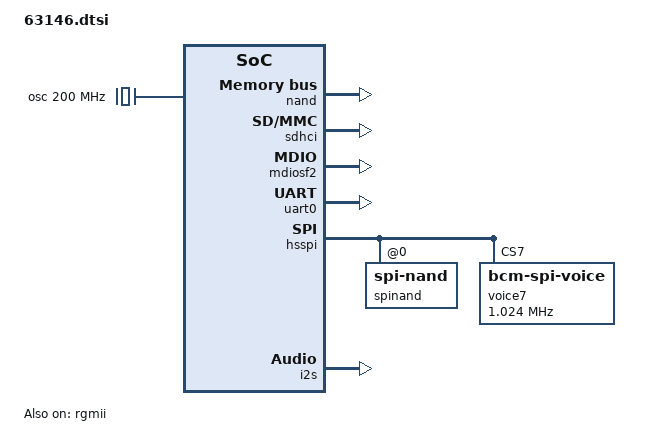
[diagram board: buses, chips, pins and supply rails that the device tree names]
/dts-v1/;

#include "linux_autoconf.h"

/* bootstrap reserved memory */
#include "../boot_rsvdmem.dtsi"

/ {
	/* arch */
	#define PERIPH_CLK			200000000
	#define PMU_CORE0_SPI	7
	#define PMU_CORE1_SPI	8
	#define HS_SPI_PLL_CLK			200000000	
	#include "../ip/bcm_b53_dual.dtsi"
	/* broadcom memory reservations */
	#include "../bcm_rsvdmem.dtsi"

	/* memc */
	#define BP_DDR_63146_DEFAULT           BP_DDR_CONFIG_DEBUG|BP_DDR_SSC_CONFIG_1
	#include "../ip/memc.dtsi"

	aliases {
		serial0 = &uart0;
		serial1 = &uart1;
		spi1 = &hsspi; /* 0 = legacy, 1 = high speed */
		spinand0 = &spinand;
		nand0 = &nand;
		hs_serial0 = &hs_uart0;
	};

	chosen {
		stdout-path = "serial0:115200n8";
		/* increase coherent_pool size */
		bootargs = "coherent_pool=4M cpuidle_sysfs_switch pci=pcie_bus_safe console=ttyAMA0,115200 earlycon rootwait";
	};

	/* boot state */
	boot_state: boot_state {
		#define RESET_REASON_OFFSET	0x0 0xff802628
		#define RESET_REASON_SIZE	0x0 0x4
		#define RESET_STATUS_OFFSET	0x0 0xff85a01c
		#define RESET_STATUS_SIZE	0x0 0x4
		#include "../ip/bcm_boot_state_v2.dtsi"
	};
	nand: nand {
		#define NAND_CTRL_OFFSET		0x0 0xff801800
		#define NAND_CTRL_SIZE			0x0 0x400
		#define NAND_INTR_OFFSET		0x0 0xff802000
		#define NAND_INTR_SIZE			0x0 0x10
		#define NAND_CACHE_OFFSET		0x0 0xff801C00
		#define NAND_CACHE_SIZE			0x0 0x200
		#include "../ip/bcm_nand7_1.dtsi"
	};
	/* EMMC */
	sdhci: sdhci {
		#define SDHCI_OFFSET			0x00000000 0xff810000
		#define SDHCI_SIZE			0x00000000 0x100
		#define SDHCI_TOPCFG_OFFSET		0x00000000 0xff810100
		#define SDHCI_TOPCFG_SIZE		0x00000000 0x100
		#define SDHCI_BOOT_OFFSET		0x00000000 0xff810200
		#define SDHCI_BOOT_SIZE			0x00000000 0x40
		#define SDHCI_AHBSS_CTRL_OFFSET		0x00000000 0xff810300
		#define SDHCI_AHBSS_CTRL_SIZE		0x00000000 0x100
		#define SDHCI_HS200_BASE_CLOCK_FREQ	180000000
		#define SDIO_EMMC_SPI			38
		#include "../ip/bcm_sdhci.dtsi"
		mmc-ddr-3_3v;
	};
	rng: rng {
		#define RNG200_OFFSET                   0x00000000 0xff800b80
		#define RNG200_SIZE                     0x00000000 0x30
		#include "../ip/bcm_rng200.dtsi"
	};

	/* PMC */
	pmc: pmc {
		#define PMC_REG_OFFSET              0x0 0xffb01018 
		#define PMC_REG_SIZE                0x0 0x5080
		#define PROCMON_REG_OFFSET          0x0 0xffb20000
		#define PROCMON_REG_SIZE            0x0 0x240
		#define MAESTRO_REG_OFFSET          0x0 0xffb00400
		#define MAESTRO_REG_SIZE            0x0 0x5d0
		#define MAESTRO_DTCM_REG_OFFSET     0x0 0xffb80000
		#define MAESTRO_DTCM_REG_SIZE       0x0 0x1000
		#include "../ip/bcm_pmc_3_2.dtsi"
	};

#if defined(CONFIG_BCM_PCIE_HCD) || defined(CONFIG_BCM_PCIE_HCD_MODULE)
	/* pcie common */
	pcie: pcie {
		compatible = "brcm,bcm-pcie";
		device_type = "cpci";
		brcm,pllclkid = <0x210>;
	};

	/* pcie core 0 */
	pcie0: pcie0 {
		#define PCIE_ID				0
		#define PCIE_SPI			69
		#define PCIE_ADDR			0 0x80110000
		#define PCIE_SIZE			0 0x0000A000
		/*	flags	pci_addr	 cpu_addr size */
		#define PCIE_RANGE			0x02000000 0 0xC0000000 0 0xC0000000 0 0x10000000
		#include "../ip/bcm_pcie_core.dtsi"
	};
	/* pcie core 1 */
	pcie1: pcie1 {
		#define PCIE_ID			 1
		#define PCIE_SPI			70
		#define PCIE_ADDR			0 0x80120000
		#define PCIE_SIZE			0 0x0000A000
		/*	flags	pci_addr	 cpu_addr size */
		#define PCIE_RANGE			0x02000000 0 0xD0000000 0 0xD0000000 0 0x10000000
		#include "../ip/bcm_pcie_core.dtsi"
	};
	/* pcie core 2 */
	pcie2: pcie2 {
		#define PCIE_ID			 2
		#define PCIE_SPI			71
		#define PCIE_ADDR			0 0x80130000
		#define PCIE_SIZE			0 0x0000A000
		/*	flags	pci_addr cpu_addr size */
		#define PCIE_RANGE			0x02000000 0 0xE0000000 0 0xE0000000 0 0x10000000
		#include "../ip/bcm_pcie_core.dtsi"
	};
#endif /* defined(CONFIG_BCM_PCIE_HCD) || defined(CONFIG_BCM_PCIE_HCD_MODULE) */

	/* usb */
	usb_ctrl: usb_ctrl {
		#define USB_CTRL_ADDR       0x0 0x8010f200
		#define USB_CTRL_SIZE       0x0 0x128
		#include "../ip/bcm_usb_ctrl.dtsi"
	};

	usb0_xhci: usb0_xhci {
		#define USB_ADDR            0x0 0x80100000
		#define USB_SIZE            0x0 0x484
		#define GBL_ADDR            0x0 0x8010C100
		#define GBL_SIZE            0x0 0x544
		#define USB_IRQ             73
		#include "../ip/bcm_usb_xhci.dtsi"
		xhci-no-companion;
	};

	unimac {
		compatible = "brcm,unimac3";
		reg = <0x0 0x828a8000 0x0 0x8000>,
		      <0x0 0x828b0000 0x0 0x2000>;
		conf_offset = <0x1000>;
		mib_offset = <0x400>;
		top_offset = <0x400>;
		mib_step = <0x2>;
	};

	egphy {
		compatible = "brcm,egphy";
		reg = <0x0 0x837FF00C 0x0 0x20>;
	};

	mdiosf2 {
		compatible = "brcm,mdio-sf2";
		reg = <0x0 0x837FFD00 0x0 0x10>,
		      <0x0 0xff85a024 0x0 0x4>;
	};

	rgmii: rgmii {
		compatible = "brcm,rgmii2";
		reg = <0x0 0x837ff184 0x0 0x44>,
		      <0x0 0xff800500 0x0 0x78>;
	};

	xrdp {
		compatible = "simple-bus";
		#address-cells = <2>;
		#size-cells = <2>;
		ranges = <0x0 0x0 0x0 0x82000000 0x0 0xcd0000
			  0x1 0x0 0x0 0xff800000 0x0 0x62000>;

		mdio: mdio {
			compatible = "simple-bus";
			bus-type = "DSL_ETHSW";

			#address-cells = <1>;
			#size-cells = <0>;

			phy1:1 {
				compatible = "brcm,bcaphy";
				phy-type = "EGPHY";
				reg = <1>;
				status = "disabled";
			};

			phy2:2 {
				compatible = "brcm,bcaphy";
				phy-type = "EGPHY";
				reg = <2>;
				status = "disabled";
			};

			phy3:3 {
				compatible = "brcm,bcaphy";
				phy-type = "EGPHY";
				reg = <3>;
				status = "disabled";
			};

			phy4:4 {
				compatible = "brcm,bcaphy";
				phy-type = "EGPHY";
				reg = <4>;
				status = "disabled";
			};

			phy5:5 {
				compatible = "brcm,bcaphy";
				phy-type = "EGPHY";
				reg = <5>;
				status = "disabled";
			};

			phy_rgmii:rgmii {
				compatible = "brcm,bcaphy";
				phy-type = "EGPHY";
				reg = <25>;
				status = "disabled";
				phy-external;
			};

			phy_serdes0:7 {
				compatible = "brcm,bcaphy";
				phy-type = "2.5GAE";
				reg = <6>;
				serdes-core = <0>;
				serdes-lane = <0>;
				status = "disabled";
			};

			phy_serdes1:8 {
				compatible = "brcm,bcaphy";
				phy-type = "2.5GAE";
				reg = <7>;
				serdes-core = <1>;
				serdes-lane = <0>;
				status = "disabled";
			};
		};

		switch0: switch0 {
		};
	};


	/* Legacy UBUS base */
	ubus@ff800000 {
		compatible = "simple-bus";
		#address-cells = <2>;
		#size-cells = <2>;
		ranges = <0x0 0x0 0x0 0xff800000 0x0 0x62000>;

		/* pinctrl */
		pincontroller: pinctrl {
			#define PINCTRL_OFFSET       0x0 0x554
			#define PINCTRL_SIZE         0x0 0xc
			#define PINCTRL_NUM_PINS     126
			#define PINCTRL_NUM_FUNC     8
			#define PINCTRL_GPIO_FUNC    4
			#include "../ip/bcm_bca_pinctrl.dtsi"
			#include "63146_pinctrl.dtsi"
		};

		/* gpio */
		gpioc: gpioc {
			#define GPIO_DIR_OFFSET      0x0 0x500
			#define GPIO_DIR_SIZE        0x0 0x20
			#define GPIO_DATA_OFFSET     0x0 0x520
			#define GPIO_DATA_SIZE       0x0 0x20
			#define NUM_OF_GPIOS         88 
			#include "../ip/bcm_bca_gpio.dtsi"
		};

		/* external interrups */
		bca_extintr: bca_extintr0 {
			#define EXTINTR_OFFSET       0x0 0x4
			#define EXTINTR_SIZE         0x0 0x48
			#define MAX_EXT_INTR         8
			#include "../ip/bcm_bca_extintr.dtsi"
			external_interrupts = <47 48 49 50 51 52 53 54>;
		};

		/* UART 1*/
		uart0: serial0 {
			#define UART_OFFSET			0x0 0x12000
			#define UART_SIZE			0x0 0x1000
			#define UART_SPI			32
			#define UART_CLK_LABEL			refclk50mhz
			#define UART_CLK			50000000
			#include "../ip/bcm_arm_uart.dtsi"
		};

		uart1: serial1 {
			#define UART_OFFSET			0x0 0x13000
			#define UART_SIZE			0x0 0x1000
			#define UART_SPI			33
			#define UART_CLK_LABEL			refclk50mhz
			#define UART_CLK			50000000
			#include "../ip/bcm_arm_uart.dtsi"
		};


		hs_uart0: hs_serial0 {
			#define UART_OFFSET			0x0 0x10400
			#define UART_SIZE			0x0 0x1E0
			#define UART_SPI 			34
			#include "../ip/bcm_hs_uart.dtsi"
		};

		/* HS SPI */
		hsspi: spi {
			pinctrl-0 = <&spim_group_pins>;
			pinctrl-names = "default";
			#define HS_SPI_OFFSET			0x0 0x1000
			#define HS_SPI_SIZE			0x0 0x600
			#define HS_SPI_MAX_FREQ			100000000
			#define HS_SPIM_SPI			37
			#include "../ip/bcm_hsspi.dtsi"
			spinand: spi-nand@0 {
				#define SPINAND_MAX_FREQ	100000000
				#include "../ip/bcm_spinand.dtsi"
			};

			voice7 {
				pinctrl-0 = <&pcm_sdin_pin_80 &pcm_sdout_pin_81 &pcm_clk_pin_85 &pcm_fs_pin_82>;
				pinctrl-names = "default";
				compatible = "bcm-spi-voice";
				reg = <7>; /* chip select 7 */
				spi-index = <7>;/* ZSI/ISI header position index */
				spi-max-frequency = <1024000>;
			};
		};

		i2c0: i2c0 {
			#define I2C_OFFSET			0x0 0x2100
			#define I2C_SIZE			0x0 0x60
			#include "../ip/bcm_i2c_bus.dtsi"
		};

		i2c1: i2c1 {
			#define I2C_OFFSET			0x0 0x5a800
			#define I2C_SIZE			0x0 0x60
			#include "../ip/bcm_i2c_bus.dtsi"
		};

		i2s: bcm63xx-i2s {
			compatible = "brcm,bcm63xx-i2s";
			reg = <0x0 0x2080 0x0 0x7f>;
			interrupts = <GIC_SPI 44 IRQ_TYPE_LEVEL_HIGH>;
			clocks = <&i2stxclk>,<&i2srxclk>,<&osc>;
			clock-names = "i2stxclk","i2srxclk","i2sosc"; 
		};

		/* periph timers */
		timers: timers {
			#define TIMERS_OFFSET		0x0 0x400
			#define TIMERS__SIZE		0x0 0x48
			#define TIMER0_SPI			11
			#define TIMER1_SPI			12
			#define TIMER2_SPI			13
			#define TIMER3_SPI			14
			#include "../ip/bcm_timer.dtsi"
		};

		/* watchdog */
		wdt: watchdog {
			#define WATCHDOG_OFFSET			0x0 0x480
			#define WATCHDOG_SIZE			0x0 0x10
			#define WATCHDOG_TIMEOUT		80
			#include "../ip/bcm_wdt.dtsi"
		};

		/* watchdog reboot */
		wdt-reboot {
			compatible = "wdt-reboot";
			wdt = <&wdt>;
		};

		/* Led Controller */
		led_ctrl: led_ctrl {
			#define CLED_GLBL_CTRL_OFFSET           0x0 0x3000
			#define CLED_GLBL_CTRL_SIZE             0x0 0x4
			#define CLED_HW_EN_OFFSET               0x0 0x3004
			#define CLED_HW_EN_SIZE                 0x0 0x4
			#define CLED_SER_SHIFT_OFFSET           0x0 0x3008
			#define CLED_SER_SHIFT_SIZE             0x0 0x4
			#define CLED_HW_POLARITY_OFFSET         0x0 0x300c
			#define CLED_HW_POLARITY_SIZE           0x0 0x4
			#define CLED_SW_SET_OFFSET              0x0 0x3010
			#define CLED_SW_SET_SIZE                0x0 0x4
			#define CLED_SW_POLARITY_OFFSET         0x0 0x3014
			#define CLED_SW_POLARITY_SIZE           0x0 0x4
			#define CLED_CH_ACTIVATE_OFFSET         0x0 0x301c
			#define CLED_CH_ACTIVATE_SIZE           0x0 0x4
			#define CLED_XX_CONFIG_OFFSET           0x0 0x3020
			#define CLED_XX_CONFIG_SIZE             0x0 0x200
			#define CLED_SW_CLEAR_OFFSET            0x0 0x3444
			#define CLED_SW_CLEAR_SIZE              0x0 0x4
			#define CLED_SW_STATUS_OFFSET           0x0 0x3448
			#define CLED_SW_STATUS_SIZE             0x0 0x4
			#define CLED_OUT_MUX_OFFSET             0x0 0x3460
			#define CLED_OUT_MUX_SIZE               0x0 0x20
			#define CLED_SERIAL_POLARITY_OFFSET     0x0 0x3454
			#define CLED_SERIAL_POLARITY_SIZE       0x0 0x4
			#define CLED_PARALLEL_POLARITY_OFFSET   0x0 0x3018
			#define CLED_PARALLEL_POLARITY_SIZE     0x0 0x4
			#define MAX_SUPPORTED_LEDS              32

			status = "okay";
			#include "../ip/bcm_cled_ctrl.dtsi"
			#include "63146_leds.dtsi"
		};

		legacy_leds: legacy_leds {
			compatible = "brcm,legacy-led";
		};
		vreg_sync: vreg_sync {
			compatible = "brcm,vreg-sync";
		};

		therm0: brcm-therm {
			compatible = "brcm,therm";
			status = "okay";
		};

	};
	ephyled {
	    compatible = "brcm,ephy-led";
            led_reg_max = <0x8>;
            reg-names = "aggregate_ctrl", "led_reg_0", "led_reg_1", "led_reg_2", "led_reg_3", "led_reg_4", "led_reg_5", "led_reg_6", "led_reg_7";
            reg = <0 0x837FF17C  0 0x4>, <0 0x837FF108 0 0xc>, <0 0x837FF114 0 0xc>, <0 0x837FF120 0 0xc>, <0 0x837FF12C 0 0xc>, <0 0x837FF138 0 0xc>, <0 0x837FF144 0 0xc>, <0 0x837FF150 0 0xc>, <0 0x837FF15C 0 0xc>;
	};


};
&nand {
	status = "okay";
};
&uart0 {
	status = "okay";
};
&wdt {
	status = "okay";
};
&sdhci {
	status = "okay";
};
&hsspi {
	status = "okay";
};
&spinand {
	status = "okay";
};
&rgmii {
	status = "okay";
};
&switch0 {
	compatible = "brcm,enet";
	label = "bcmsw";
	sw-type = "RUNNER_SW";

	ports {
		#address-cells = <1>;
		#size-cells = <0>;

		port0@0 {
			reg = <0>;
			mac-type = "UNIMAC";
			phy-handle = <&phy1>;
			phy-mode = "gmii";
			gmii-direct;
			status = "disabled";
		};

		port1@1 {
			reg = <1>;
			mac-type = "UNIMAC";
			phy-handle = <&phy2>;
			phy-mode = "gmii";
			gmii-direct;
			status = "disabled";
		};

		port2@2 {
			reg = <2>;
			mac-type = "UNIMAC";
			phy-handle = <&phy3>;
			phy-mode = "gmii";
			gmii-direct;
			status = "disabled";
		};

		port3@3 {
			reg = <3>;
			mac-type = "UNIMAC";
			phy-handle = <&phy4>;
			phy-mode = "gmii";
			gmii-direct;
			status = "disabled";
		};

		port4@4 {
			reg = <4>;
			mac-type = "UNIMAC";
			phy-handle = <&phy5>;
			phy-mode = "gmii";
			gmii-direct;
			status = "disabled";
		};

		port5@5 {
			reg = <5>;
			mac-type = "UNIMAC";
			phy-handle = <&phy_rgmii>;
			phy-mode = "rgmii";
			status = "disabled";
		};

		port6@6 {
			reg = <6>;
			mac-type = "UNIMAC";
			phy-handle = <&phy_serdes0>;
			phy-mode = "serdes";
			status = "disabled";
		};

		port7@7 {
			reg = <7>;
			mac-type = "UNIMAC";
			phy-handle = <&phy_serdes1>;
			phy-mode = "serdes";
			status = "disabled";
		};
	};
};
&clocks {
	i2s_clkmclk_syscon: i2s_clkmclk_syscon@0xFF802080 {
		compatible = "brcm,i2s-audio-clkmclk-syscon", "syscon";
		reg = <0x0 0xFF802080 0x0 0x80>;
	};
	osc: oscillator {
		#clock-cells = <0>;
		compatible = "fixed-clock";
		clock-frequency = <200000000>; /* xpon 200MHz output */
	};
	i2stxclk: i2stxclk@0x80158000 {
		#clock-cells = <0>;
		compatible = "brcm,i2s-tx-clock";
		clocks = <&osc>;
		clk-mclk-syscon        = <&i2s_clkmclk_syscon>;
		clock-tx-output-names  = "i2s_tx_clk";
	};

	i2srxclk: i2srxclk@0x80158000 {
		#clock-cells = <0>;
		compatible = "brcm,i2s-rx-clock";
		clocks = <&osc>;
		clk-mclk-syscon        = <&i2s_clkmclk_syscon>;
		clock-rx-output-names  = "i2s_rx_clk";	
	};
};


